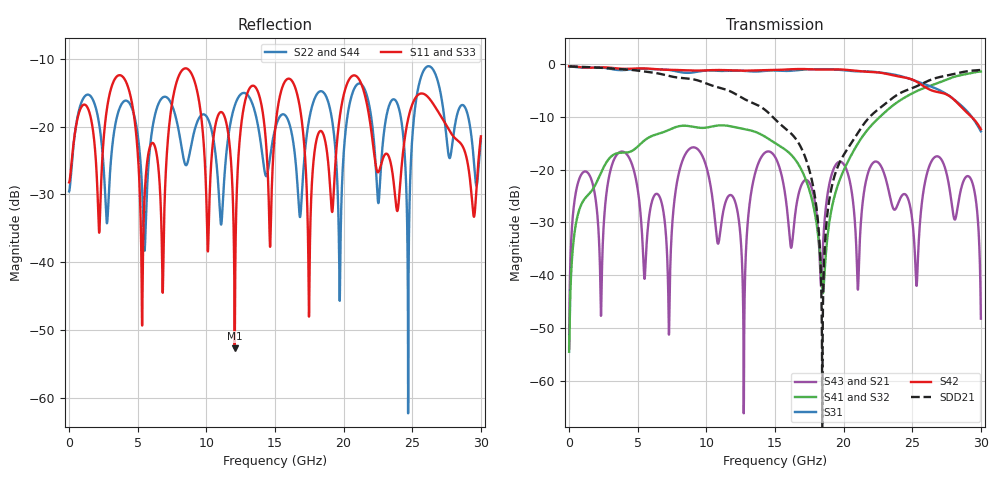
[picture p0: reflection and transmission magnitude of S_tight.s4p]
!diffpair-meanders S_tight (straight pair, 6 mm serpentine on P, folds 0.15 mm apart), mesh medium
!ports 1 P_near 2 N_near 3 P_far 4 N_far; openEMS FDTD, lumped 50 ohm ports
# Hz S RI R 50.0
! Port[1] = P_near
! Port[2] = N_near
! Port[3] = P_far
! Port[4] = N_far
!freq ReS11 ImS11 ReS12 ImS12 ReS13 ImS13
! ReS14 ImS14
! ReS21 ImS21 ReS22 ImS22 ReS23 ImS23
! ReS24 ImS24
! ReS31 ImS31 ReS32 ImS32 ReS33 ImS33
! ReS34 ImS34
! ReS41 ImS41 ReS42 ImS42 ReS43 ImS43
! ReS44 ImS44
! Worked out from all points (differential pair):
!   3000 points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, 10 MHz to 30 GHz, reference 50 ohm
!   strongest paths, dB at 10 MHz, 7.51 GHz, 15.01 GHz, 22.51 GHz, 30 GHz:
!     S42: -0.4, -1.1, -1.1, -1.6, -12.3
!     S31: -0.5, -1.2, -1.2, -1.6, -12.7
!     S41: -54.5, -12.2, -15.0, -10.3, -1.4
!     S32: -54.5, -12.2, -15.0, -10.3, -1.4
!     S43: -53.9, -30.8, -17.6, -18.6, -48.2
!     S21: -53.9, -30.8, -17.6, -18.6, -48.3
!   taken as a pair (ports 2,1 in; 4,3 out), SDD21 dB: -0.4, -2.4, -10.5, -8.6, -1.1
!   lowest |S11| = -52.7 dB at 12.07 GHz (marker M1), VSWR 1.00, Z = 50.2 - j0.0018 ohm
!   |S11| at or under -10 dB: start of sweep to end of sweep
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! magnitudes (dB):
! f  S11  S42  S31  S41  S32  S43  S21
! 10 MHz  -28.2  -0.4  -0.5  -54.5  -54.5  -53.9  -53.9
! 1.06 GHz  -16.8  -0.6  -0.7  -25.8  -25.8  -20.4  -20.4
! 12.07 GHz  -52.7  -1.2  -1.2  -11.9  -11.9  -25.8  -25.8
! 18.5 GHz  -21.0  -1.0  -1.0  -43.4  -45.0  -34.4  -34.4
! 24.7 GHz  -18.9  -2.7  -2.7  -6.0  -6.0  -25.5  -25.5
! 26.87 GHz  -17.7  -5.3  -4.8  -3.6  -3.6  -17.5  -17.5
! 30 GHz  -21.4  -12.3  -12.7  -1.4  -1.4  -48.2  -48.3
